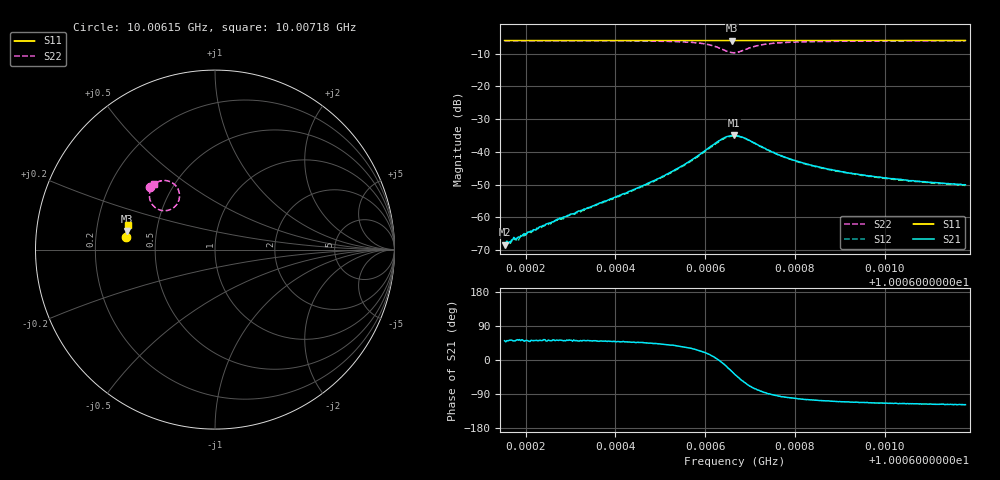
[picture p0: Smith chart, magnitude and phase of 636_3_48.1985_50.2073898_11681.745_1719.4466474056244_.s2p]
#  HZ  S  RI  R  50.00
! Rohde & Schwarz Vector Network Analyzer
! Rohde-Schwarz,ZNB20-2Port,1311601062101988,3.16
! Created: UTC 3/20/2024, 12:04:38 PM
! freq[Hz]  re:S11  im:S11  re:S21  im:S21  re:S12  im:S12  re:S22  im:S22
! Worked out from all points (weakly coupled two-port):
!   401 points, 10.00615 GHz to 10.00718 GHz, reference 50 ohm
!   highest |S21| = -34.89 dB at 10.00666 GHz (marker M1); lowest = -68.4 dB at 10.00615 GHz (marker M2)
!   lowest |S11| = -6.0 dB at 10.00666 GHz (marker M3), VSWR 3.02, Z = 16.7 + j4.57 ohm
!   |S11| at or under -10 dB: nowhere
!   |S22| runs from -9.7 to -6.0 dB; largest |S21 - S12| = 0.0014
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1.0006153e10  -0.4986 0.0702  0.000242 0.000296  0.000234 0.000276  -0.3597 0.346
1.0006158e10  -0.4986 0.0704  0.000271 0.000339  0.000234 0.000334  -0.3594 0.3462
1.0006181e10  -0.4983 0.072  0.000287 0.00039  0.000268 0.000408  -0.3577 0.3482
1.0006225e10  -0.4982 0.0748  0.00041 0.000521  0.000397 0.00056  -0.3545 0.3513
1.0006271e10  -0.4976 0.0779  0.000577 0.000741  0.000501 0.000753  -0.3507 0.3549
1.0006325e10  -0.4971 0.0813  0.000816 0.000981  0.000763 0.00101  -0.3456 0.3599
1.0006423e10  -0.4963 0.0877  0.00156 0.00172  0.00144 0.00177  -0.3323 0.3696
1.0006497e10  -0.4954 0.0927  0.00289 0.00268  0.00274 0.00276  -0.3142 0.379
1.0006553e10  -0.4945 0.0965  0.0053 0.00361  0.00499 0.00377  -0.2872 0.3847
1.0006602e10  -0.4936 0.0998  0.0102 0.00335  0.00976 0.0038  -0.2397 0.3736
1.0006636e10  -0.4925 0.1015  0.0155 -0.00128  0.0151 -0.000478  -0.1998 0.3197
1.0006659e10  -0.492 0.1022  0.0155 -0.00878  0.0158 -0.00759  -0.2134 0.2515
1.0006664e10  -0.4921 0.1023  0.0146 -0.0105  0.015 -0.00925  -0.2247 0.2387
1.0006666e10  -0.4921 0.1024  0.014 -0.0111  0.0144 -0.00988  -0.2313 0.2331
1.0006687e10  -0.4924 0.1032  0.00847 -0.014  0.00918 -0.0132  -0.2898 0.217
1.0006726e10  -0.4926 0.1058  0.00155 -0.012  0.00207 -0.0118  -0.3512 0.2538
1.0006767e10  -0.4923 0.1087  -0.000856 -0.00884  -0.000329 -0.0088  -0.3648 0.29
1.0006803e10  -0.4922 0.1112  -0.00144 -0.00712  -0.00107 -0.00708  -0.365 0.3096
1.0006839e10  -0.4917 0.1134  -0.00164 -0.00598  -0.00134 -0.00598  -0.3627 0.3228
1.0006918e10  -0.4907 0.1188  -0.00168 -0.00448  -0.00145 -0.00449  -0.3558 0.3407
1.0007011e10  -0.4894 0.1246  -0.00161 -0.00359  -0.00139 -0.00359  -0.3487 0.3531
1.000718e10  -0.487 0.1354  -0.00147 -0.00278  -0.00129 -0.00277  -0.3372 0.3681
